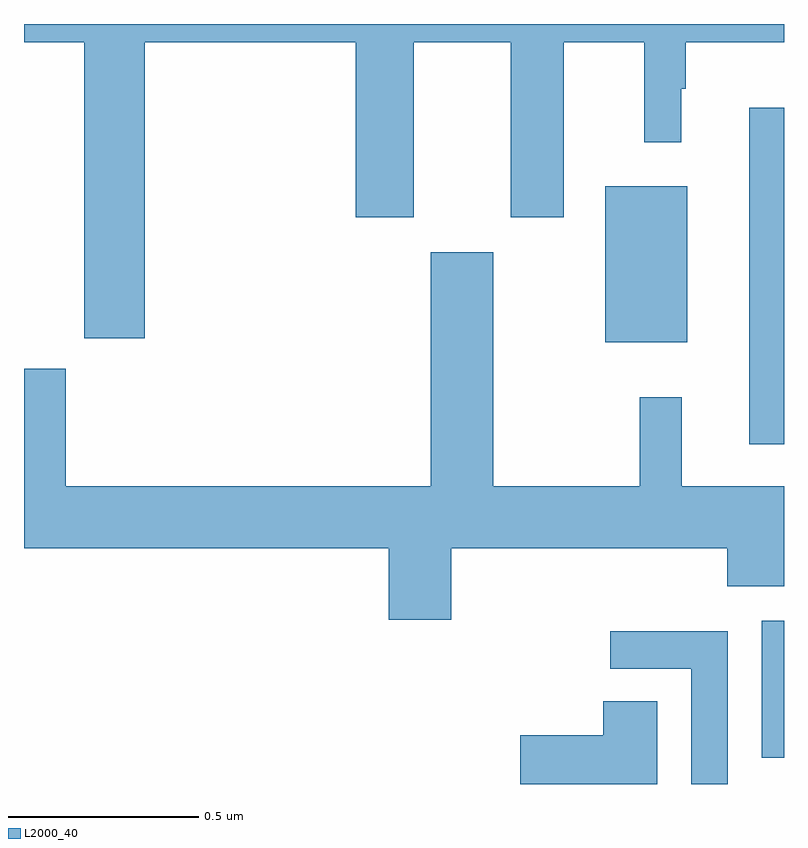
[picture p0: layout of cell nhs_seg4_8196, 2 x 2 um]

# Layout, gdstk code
import gdstk
lib = gdstk.Library(unit=1e-6, precision=1e-09)
def R(c, l, rs):  # rectangles x0, y0, x1, y1
    for r in rs: c.add(gdstk.rectangle(r[:2], r[2:], *l))
def P(c, l, *ps):  # polygons
    for p in ps: c.add(gdstk.Polygon(p, *l))
L2000_40 = (2000, 40)

nhs_seg4_8196 = lib.new_cell('nhs_seg4_8196')
R(nhs_seg4_8196, L2000_40, [(213.941,762.969,214,763.33), (213.908,763.794,214,764.68), (213.53,764.063,213.745,764.473)])
P(nhs_seg4_8196, L2000_40, [(212.318,764.852),(212.873,764.852),(212.873,764.391),(213.025,764.391),(213.025,764.852),(213.281,764.852),(213.281,764.391),(213.421,764.391),(213.421,764.852),(213.632,764.852),(213.632,764.589),(213.73,764.589),(213.73,764.729),(213.742,764.729),(213.742,764.852),(214,764.852),(214,764.9),(212,764.9),(212,764.852),(212.158,764.852),(212.158,764.073),(212.318,764.073)],
  [(213.124,763.52),(213.851,763.52),(213.851,763.421),(214,763.421),(214,763.684),(213.731,763.684),(213.731,763.918),(213.621,763.918),(213.621,763.684),(213.235,763.684),(213.235,764.299),(213.071,764.299),(213.071,763.684),(212.11,763.684),(212.11,763.993),(212,763.993),(212,763.52),(212.96,763.52),(212.96,763.332),(213.124,763.332)],
  [(213.852,763.302),(213.543,763.302),(213.543,763.203),(213.756,763.203),(213.756,762.9),(213.852,762.9)],
  [(213.667,763.118),(213.524,763.118),(213.524,763.028),(213.306,763.028),(213.306,762.9),(213.667,762.9)])

lib.write_gds('nhs_seg4_8196.gds')
